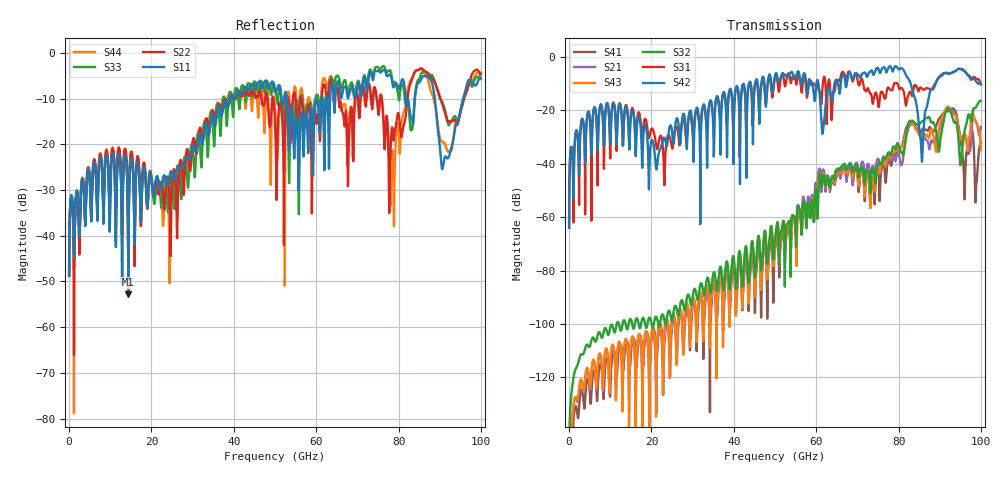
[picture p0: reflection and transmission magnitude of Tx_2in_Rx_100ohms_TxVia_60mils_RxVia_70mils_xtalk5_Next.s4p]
! Info: Touchstone file created by Circ.  Input file=Tx_2in_Rx_100ohms_TxVia_60mils_RxVia_70mils.circ
# Hz S RI R 50
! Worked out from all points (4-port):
!   10000 points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, 10 MHz to 100 GHz, reference 50 ohm
!   strongest paths, dB at 10 MHz, 25.01 GHz, 50.01 GHz, 75.01 GHz, 100 GHz:
!     S42: -63.9, -27.8, -6.9, -4.2, -10.0
!     S31: -63.9, -34.3, -7.9, -17.4, -10.3
!     S32: -156.4, -98.8, -68.3, -40.3, -16.5
!     S43: -158.1, -97.8, -70.3, -42.0, -34.7
!     S21: -167.1, -101.3, -69.2, -38.1, -26.2
!     S41: -158.3, -98.1, -72.3, -42.8, -32.5
!   lowest |S11| = -52.8 dB at 14.39 GHz (marker M1), VSWR 1.00, Z = 50.2 - j0.0344 ohm
!   |S11| at or under -10 dB: start of sweep to 39.15 GHz; 52.79 GHz to 61.28 GHz (8.494 GHz wide, 14.9 % of centre); 88.82 GHz to 95.74 GHz (6.916 GHz wide, 7.5 % of centre) (the widest 3 of 9)
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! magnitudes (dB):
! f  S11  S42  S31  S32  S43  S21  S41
! 10 MHz  -48.8  -63.9  -63.9  -156.4  -158.1  -167.1  -158.3
! 4.65 GHz  -25.4  -20.6  -20.6  -108.2  -117.7  -117.8  -120.8
! 14.39 GHz  -52.8  -25.3  -24.7  -100.6  -114.8  -114.7  -108.6
! 46.72 GHz  -7.7  -9.6  -9.9  -79.3  -83.7  -80.2  -89.0
! 79.37 GHz  -6.7  -3.6  -9.8  -33.9  -34.4  -38.6  -36.7
! 85.59 GHz  -5.6  -36.8  -11.7  -24.3  -30.4  -31.2  -27.5
! 100 GHz  -5.6  -10.0  -10.3  -16.5  -34.7  -26.2  -32.5
